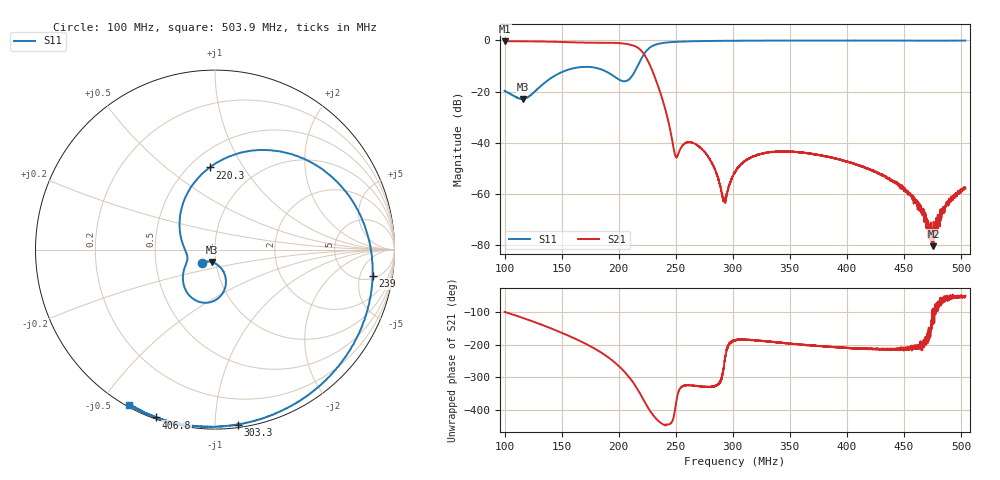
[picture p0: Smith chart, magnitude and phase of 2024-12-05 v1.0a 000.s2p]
# HZ S RI R 50
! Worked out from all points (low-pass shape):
!   4040 points, 100 MHz to 503.9 MHz, reference 50 ohm
!   highest |S21| = -0.32 dB at 100.4 MHz (marker M1); lowest = -80.5 dB at 475.9 MHz (marker M2)
!   |S21| within 3 dB of the highest: start of sweep to 218.1 MHz
!   lowest |S11| = -22.9 dB at 116.2 MHz (marker M3), VSWR 1.15, Z = 48 - j6.71 ohm
!   |S11| at or under -10 dB: start of sweep to 216.6 MHz
!   S12 and S22 are empty: the file has one direction only
!   S11 on the Smith chart (normalised r, x): 100 MHz: 0.86, -0.13; 220.3 MHz: 0.62, +0.72; 239 MHz: 5.69, -8.11; 303.3 MHz: 0.02, -1.14; 406.8 MHz: 0.01, -0.71; 503.9 MHz: 0.01, -0.59
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1e8  -0.0713 -0.0745  -0.1493 -0.9519  0 0  0 0
1.004e8  -0.0703 -0.0742  -0.1564 -0.9512  0 0  0 0
1.162e8  -0.0157 -0.0696  -0.444 -0.847  0 0  0 0
1.674e8  -0.0554 -0.2963  -0.8918 0.1638  0 0  0 0
1.857e8  -0.173 -0.2013  -0.6237 0.6465  0 0  0 0
2.013e8  -0.1552 -0.0611  -0.0119 0.8795  0 0  0 0
2.135e8  -0.1971 0.1248  0.597 0.5054  0 0  0 0
2.203e8  -0.0289 0.4578  0.6104 0.00638  0 0  0 0
2.262e8  0.4467 0.5243  0.3044 -0.219  0 0  0 0
2.347e8  0.8506 0.0816  0.0358 -0.1196  0 0  0 0
2.39e8  0.8789 -0.1467  0.00619 -0.0626  0 0  0 0
2.503e8  0.7619 -0.5426  0.0049 -0.00169  0 0  0 0
2.723e8  0.4426 -0.8601  0.00659 0.00411  0 0  0 0
2.925e8  0.2221 -0.9534  -0.000176 0.000714  0 0  0 0
3.02e8  0.1389 -0.9726  -0.00265 0.000323  0 0  0 0
3.033e8  0.1277 -0.9754  -0.00291 0.000243  0 0  0 0
3.274e8  -0.0337 -0.9872  -0.00609 0.00094  0 0  0 0
3.693e8  -0.2192 -0.9672  -0.00566 0.00224  0 0  0 0
4.068e8  -0.3276 -0.9354  -0.00326 0.00191  0 0  0 0
4.366e8  -0.3902 -0.9087  -0.00168 0.00114  0 0  0 0
4.759e8  -0.447 -0.8809  -3.64e-06 -9.47e-05  0 0  0 0
5.039e8  -0.479 -0.866  0.000825 -0.000966  0 0  0 0
